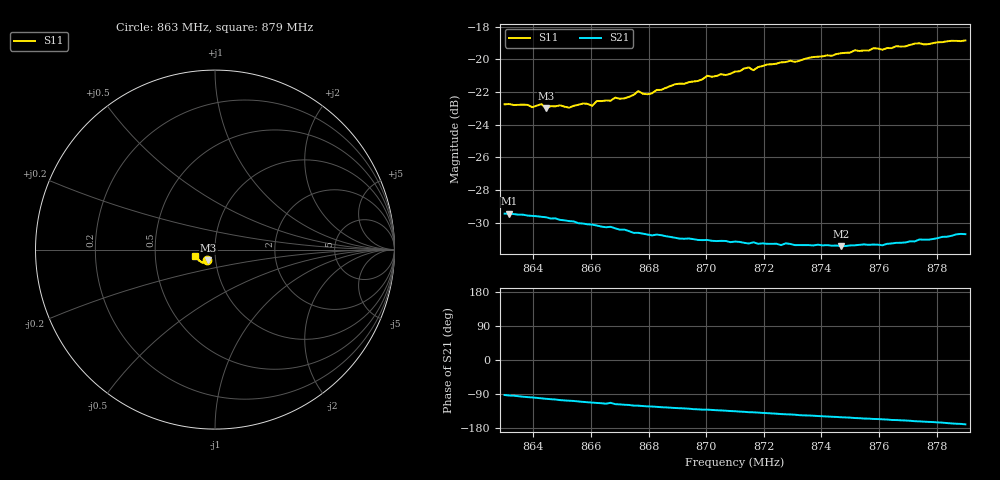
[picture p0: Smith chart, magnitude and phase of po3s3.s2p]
# HZ S RI R 50
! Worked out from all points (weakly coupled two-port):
!   101 points, 863 MHz to 879 MHz, reference 50 ohm
!   highest |S21| = -29.44 dB at 863.16 MHz (marker M1); lowest = -31.4 dB at 874.68 MHz (marker M2)
!   lowest |S11| = -23.0 dB at 864.44 MHz (marker M3), VSWR 1.15, Z = 46 - j5.55 ohm
!   |S11| at or under -10 dB: start of sweep to end of sweep
!   S12 and S22 are empty: the file has one direction only
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8.63e8  -0.0422 -0.0594  -0.00137 -0.0337  0 0  0 0
8.6316e8  -0.0422 -0.0595  -0.00218 -0.0336  0 0  0 0
8.6396e8  -0.039 -0.0598  -0.00507 -0.0328  0 0  0 0
8.6428e8  -0.0389 -0.0617  -0.00643 -0.0323  0 0  0 0
8.6444e8  -0.0377 -0.0599  -0.00701 -0.0321  0 0  0 0
8.6492e8  -0.0385 -0.0612  -0.00878 -0.031  0 0  0 0
8.6524e8  -0.0391 -0.0595  -0.0096 -0.0305  0 0  0 0
8.6572e8  -0.036 -0.0638  -0.011 -0.0294  0 0  0 0
8.6604e8  -0.0357 -0.0627  -0.0119 -0.0288  0 0  0 0
8.662e8  -0.038 -0.0641  -0.0122 -0.0285  0 0  0 0
8.6716e8  -0.0377 -0.066  -0.0142 -0.0266  0 0  0 0
8.6764e8  -0.0404 -0.069  -0.015 -0.0253  0 0  0 0
8.6796e8  -0.0392 -0.0677  -0.0156 -0.0246  0 0  0 0
8.6844e8  -0.0413 -0.0693  -0.0164 -0.0238  0 0  0 0
8.6892e8  -0.0436 -0.0718  -0.017 -0.0228  0 0  0 0
8.6972e8  -0.0467 -0.0721  -0.0181 -0.0214  0 0  0 0
8.7004e8  -0.0499 -0.0738  -0.0184 -0.0211  0 0  0 0
8.71e8  -0.0548 -0.0736  -0.0197 -0.0195  0 0  0 0
8.7372e8  -0.0729 -0.0709  -0.0226 -0.0146  0 0  0 0
8.7468e8  -0.0812 -0.0657  -0.0235 -0.0129  0 0  0 0
8.7644e8  -0.0929 -0.0557  -0.0254 -0.0101  0 0  0 0
8.79e8  -0.1087 -0.0355  -0.0287 -0.00514  0 0  0 0
